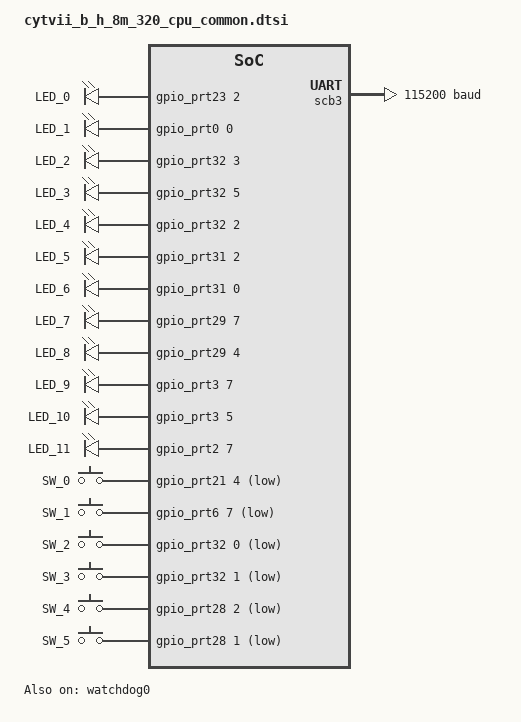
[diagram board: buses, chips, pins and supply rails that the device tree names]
/*
 * Copyright (c) 2025 Infineon Technologies AG,
 * or an affiliate of Infineon Technologies AG.
 *
 * SPDX-License-Identifier: Apache-2.0
 */
#include <arm/infineon/cat1c/traveo2-8m/system_clocks.dtsi>
#include <arm/infineon/cat1c/traveo2-8m/cyt4bfcche.dtsi>
#include <zephyr/dt-bindings/input/input-event-codes.h>

/ {
	aliases {
		uart-3 = &uart3;
		led0 = &cpu_user_led0;
		led1 = &cpu_user_led1;
		led2 = &bb_user_led0;
		led3 = &bb_user_led1;
		led4 = &bb_user_led2;
		led5 = &bb_user_led3;
		led6 = &bb_user_led4;
		led7 = &bb_user_led5;
		led8 = &bb_user_led6;
		led9 = &bb_user_led7;
		led10 = &bb_user_led8;
		led11 = &bb_user_led9;

		sw0 = &cpu_user_bt0;
		sw1 = &bb_user_bt1;
		sw2 = &bb_user_bt2;
		sw3 = &bb_user_bt3;
		sw4 = &bb_user_bt4;
		sw5 = &bb_user_bt5;
		watchdog0 = &watchdog0;
		uart3 = &uart3;
	};

	leds {
		compatible = "gpio-leds";

		cpu_user_led0: led0 {
			label = "LED_0";
			gpios = <&gpio_prt23 2 GPIO_ACTIVE_HIGH>;
		};

		cpu_user_led1: led1 {
			label = "LED_1";
			gpios = <&gpio_prt0 0 GPIO_ACTIVE_HIGH>;
		};

		bb_user_led0: led2 {
			label = "LED_2";
			gpios = <&gpio_prt32 3 GPIO_ACTIVE_HIGH>;
		};

		bb_user_led1: led3 {
			label = "LED_3";
			gpios = <&gpio_prt32 5 GPIO_ACTIVE_HIGH>;
		};

		bb_user_led2: led4 {
			label = "LED_4";
			gpios = <&gpio_prt32 2 GPIO_ACTIVE_HIGH>;
		};

		bb_user_led3: led5 {
			label = "LED_5";
			gpios = <&gpio_prt31 2 GPIO_ACTIVE_HIGH>;
		};

		bb_user_led4: led6 {
			label = "LED_6";
			gpios = <&gpio_prt31 0 GPIO_ACTIVE_HIGH>;
		};

		bb_user_led5: led7 {
			label = "LED_7";
			gpios = <&gpio_prt29 7 GPIO_ACTIVE_HIGH>;
		};

		bb_user_led6: led8 {
			label = "LED_8";
			gpios = <&gpio_prt29 4 GPIO_ACTIVE_HIGH>;
		};

		bb_user_led7: led9 {
			label = "LED_9";
			gpios = <&gpio_prt3 7 GPIO_ACTIVE_HIGH>;
		};

		bb_user_led8: led10 {
			label = "LED_10";
			gpios = <&gpio_prt3 5 GPIO_ACTIVE_HIGH>;
		};

		bb_user_led9: led11 {
			label = "LED_11";
			gpios = <&gpio_prt2 7 GPIO_ACTIVE_HIGH>;
		};
	};

	gpio_keys {
		compatible = "gpio-keys";

		cpu_user_bt0: cpu_user_btn0 {
			label = "SW_0";
			gpios = <&gpio_prt21 4 (GPIO_PULL_UP | GPIO_ACTIVE_LOW)>;
			zephyr,code = <INPUT_KEY_0>;
		};

		bb_user_bt1: bb_user_btn1 {
			label = "SW_1";
			gpios = <&gpio_prt6 7 (GPIO_PULL_UP | GPIO_ACTIVE_LOW)>;
			zephyr,code = <INPUT_KEY_1>;
		};

		bb_user_bt2: bb_user_btn2 {
			label = "SW_2";
			gpios = <&gpio_prt32 0 (GPIO_PULL_UP | GPIO_ACTIVE_LOW)>;
			zephyr,code = <INPUT_KEY_2>;
		};

		bb_user_bt3: bb_user_btn3 {
			label = "SW_3";
			gpios = <&gpio_prt32 1 (GPIO_PULL_UP | GPIO_ACTIVE_LOW)>;
			zephyr,code = <INPUT_KEY_3>;
		};

		bb_user_bt4: bb_user_btn4 {
			label = "SW_4";
			gpios = <&gpio_prt28 2 (GPIO_PULL_UP | GPIO_ACTIVE_LOW)>;
			zephyr,code = <INPUT_KEY_4>;
		};

		bb_user_bt5: bb_user_btn5 {
			label = "SW_5";
			gpios = <&gpio_prt28 1 (GPIO_PULL_UP | GPIO_ACTIVE_LOW)>;
			zephyr,code = <INPUT_KEY_5>;
		};
	};

		reserved-memory {
		#address-cells = <1>;
		#size-cells = <1>;
		sram_srom: memory@28000000 {
			reg = <0x28000000 DT_SIZE_K(2)>;
		};
		sram_m0plus: memory@28000800 {
			reg = <0x28000800 DT_SIZE_K(16)>;
		};
		sram_m7_0: memory@28004000  {
			reg = <0x28004000  DT_SIZE_K(816)>;
		};
		sram_m7_1: memory@280d0000 {
			reg = <0x280d0000 DT_SIZE_K(64)>;
		};
	};
};

&code_flash0 {
	partitions {
		compatible = "fixed-partitions";
		#address-cells = <1>;
		#size-cells = <1>;

		m0p_partition: partition_m0p@0 {
			label = "m0p_partition";
			reg = <0x0 DT_SIZE_K(512)>;
			status = "disabled";
		};
		m7_0_partition: partition@80000 {
			label = "m7_0_partition";
			reg = <0x80000 DT_SIZE_K(2048)>;
		};
		m7_1_partition: partition@280000 {
			label = "m7_1_partition";
			reg = <0x280000 DT_SIZE_K(5824)>;
		};
	};
};

uart3: &scb3 {
	compatible = "infineon,cat1-uart";
	current-speed = <115200>;


	/* UART pins */
	pinctrl-0 = <&p13_1_scb3_uart_tx &p13_0_scb3_uart_rx
		     &p13_2_scb3_uart_rts &p13_3_scb3_uart_cts>;
	pinctrl-names = "default";
};



&gpio_prt0 {
	status = "okay";
};

&gpio_prt2 {
	status = "okay";
};

&gpio_prt3 {
	status = "okay";
};

&gpio_prt6 {
	status = "okay";
};

&gpio_prt13 {
	status = "okay";
};

&gpio_prt18 {
	status = "okay";
};

&gpio_prt21 {
	status = "okay";
};

&gpio_prt23 {
	status = "okay";
};

&gpio_prt28 {
	status = "okay";
};

&gpio_prt29 {
	status = "okay";
};

&gpio_prt31 {
	status = "okay";
};

&gpio_prt32 {
	status = "okay";
};

&clk_eco {
	status = "okay";
	clock-frequency = <16000000>;
};

&pll0 {
	status = "okay";
};
&pll1 {
	status = "okay";
};
&pll2 {
	status = "okay";
};


&clk_hf0 {
	status = "okay";
};
&clk_hf1 {
	status = "okay";
};
&clk_hf2 {
	status = "okay";
};
&clk_hf3 {
	status = "okay";
};
&clk_hf4 {
	status = "okay";
};
&clk_hf5 {
	status = "okay";
};
&clk_hf6 {
	status = "okay";
};
&clk_hf7 {
	status = "disabled";
};

&watchdog0 {
	status = "okay";
};
